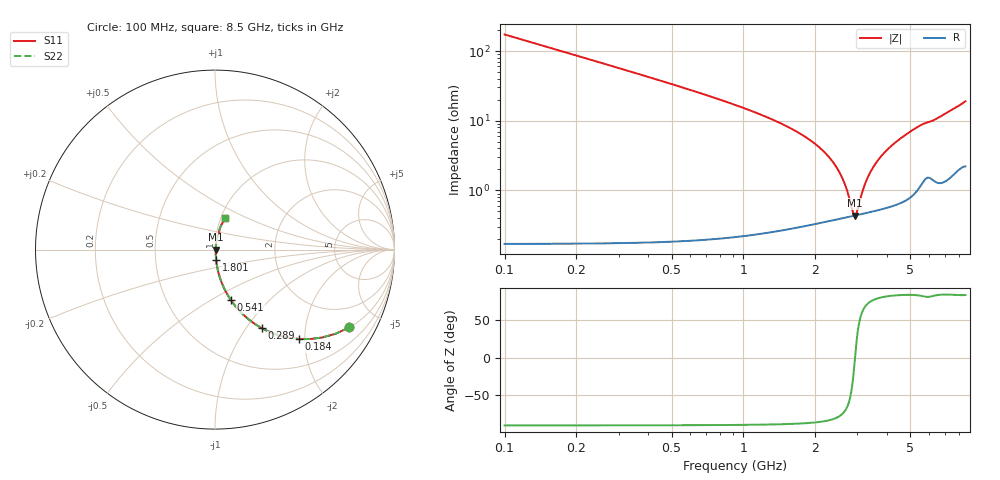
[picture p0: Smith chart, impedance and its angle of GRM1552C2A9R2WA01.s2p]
!Murata Part Number: GRM1552C2A9R2WA01
!These Parameters are Measured in Series Mode Connection
!Data Generated on Mar 30, 2021
!  o--ll--o
!Port1  Port2
!  o------o
!Operation Temp=25[degC], DC Bias Voltage=0[V]
!Freq. Start=100[MHz] Stop=9[GHz] 401[Steps]
# Hz S RI R 50
!Freq.(Hz) S11(Real) S11(Imag) S21(Real) S21(Imag) S12(Real) S12(Imag) S22(Real) S22(Imag)
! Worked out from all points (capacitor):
!   401 points, 100 MHz to 8.5 GHz, reference 50 ohm
!   read as one part in series: C = 9.2 pF near 142 MHz
!   lowest |Z| = 436 mohm at 2.935 GHz (marker M1)
!   series resonance near 2.933 GHz, so ESL is about 320 pH
!   S11 on the Smith chart (normalised r, x): 100 MHz: 1.00, -3.46; 184 MHz: 1.00, -1.87; 289 MHz: 1.00, -1.19; 541 MHz: 1.00, -0.62; 1.801 GHz: 1.01, -0.12; 8.5 GHz: 1.04, +0.38
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1e8  0.7489 -0.4332  0.2511 0.4332  0.2511 0.4332  0.7489 -0.4332
1.84e8  0.4673 -0.498  0.5327 0.498  0.5327 0.498  0.4673 -0.498
2.89e8  0.2606 -0.4375  0.7394 0.4375  0.7394 0.4375  0.2606 -0.4375
3.94e8  0.1577 -0.3624  0.8423 0.3624  0.8423 0.3624  0.1577 -0.3624
5.41e8  0.0884 -0.2809  0.9116 0.2809  0.9116 0.2809  0.0884 -0.2809
9.19e8  0.0299 -0.1641  0.9701 0.1641  0.9701 0.1641  0.0299 -0.1641
1.507e9  0.00971 -0.0832  0.9903 0.0832  0.9903 0.0832  0.00971 -0.0832
1.801e9  0.00656 -0.0591  0.9934 0.0591  0.9934 0.0591  0.00656 -0.0591
2.2e9  0.00467 -0.034  0.9953 0.034  0.9953 0.034  0.00467 -0.034
2.473e9  0.00423 -0.02  0.9958 0.02  0.9958 0.02  0.00423 -0.02
2.662e9  0.00417 -0.0113  0.9958 0.0113  0.9958 0.0113  0.00417 -0.0113
2.914e9  0.00432 -0.000756  0.9957 0.000756  0.9957 0.000756  0.00432 -0.000756
2.935e9  0.00434 8.46e-05  0.9957 -8.46e-05  0.9957 -8.46e-05  0.00434 8.46e-05
2.998e9  0.00442 0.00257  0.9956 -0.00257  0.9956 -0.00257  0.00442 0.00257
3.208e9  0.00476 0.0105  0.9952 -0.0105  0.9952 -0.0105  0.00476 0.0105
3.439e9  0.00526 0.0188  0.9947 -0.0188  0.9947 -0.0188  0.00526 0.0188
3.796e9  0.00629 0.0308  0.9937 -0.0308  0.9937 -0.0308  0.00629 0.0308
4.3e9  0.00826 0.0468  0.9917 -0.0468  0.9917 -0.0468  0.00826 0.0468
4.993e9  0.0125 0.0678  0.9875 -0.0678  0.9875 -0.0678  0.0125 0.0678
5.707e9  0.0213 0.0868  0.9787 -0.0868  0.9787 -0.0868  0.0213 0.0868
7.114e9  0.0296 0.1241  0.9704 -0.1241  0.9704 -0.1241  0.0296 0.1241
8.5e9  0.054 0.175  0.946 -0.175  0.946 -0.175  0.054 0.175
